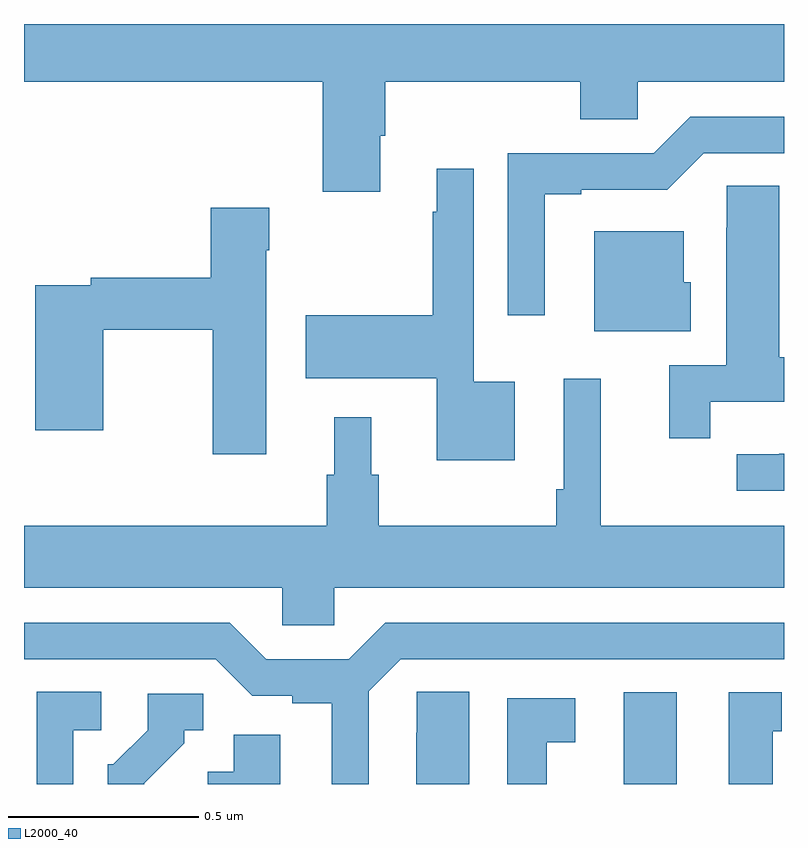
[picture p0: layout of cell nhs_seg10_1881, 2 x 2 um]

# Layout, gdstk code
import gdstk
lib = gdstk.Library(unit=1e-6, precision=1e-09)
def R(c, l, rs):  # rectangles x0, y0, x1, y1
    for r in rs: c.add(gdstk.rectangle(r[:2], r[2:], *l))
def P(c, l, *ps):  # polygons
    for p in ps: c.add(gdstk.Polygon(p, *l))
L2000_40 = (2000, 40)

nhs_seg10_1881 = lib.new_cell('nhs_seg10_1881')
R(nhs_seg10_1881, L2000_40, [(135.578,1266.5,135.718,1266.742)])
P(nhs_seg10_1881, L2000_40, [(134.938,1268.206),(134.951,1268.206),(134.951,1268.348),(135.464,1268.348),(135.464,1268.25),(135.615,1268.25),(135.615,1268.348),(136,1268.348),(136,1268.5),(134,1268.5),(134,1268.348),(134.786,1268.348),(134.786,1268.058),(134.938,1268.058)],
  [(135.37,1268.052),(135.466,1268.052),(135.466,1268.064),(135.693,1268.064),(135.789,1268.16),(136,1268.16),(136,1268.256),(135.753,1268.256),(135.657,1268.16),(135.273,1268.16),(135.273,1267.734),(135.37,1267.734)],
  [(135.292,1267.558),(135.183,1267.558),(135.183,1268.119),(135.086,1268.119),(135.086,1268.006),(135.075,1268.006),(135.075,1267.734),(134.742,1267.734),(134.742,1267.568),(135.086,1267.568),(135.086,1267.352),(135.292,1267.352)],
  [(135.806,1267.506),(136,1267.506),(136,1267.623),(135.988,1267.623),(135.988,1268.075),(135.849,1268.075),(135.849,1267.964),(135.848,1267.964),(135.848,1267.602),(135.698,1267.602),(135.698,1267.41),(135.806,1267.41)],
  [(134.638,1267.904),(134.646,1267.904),(134.646,1268.017),(134.492,1268.017),(134.492,1267.832),(134.176,1267.832),(134.176,1267.812),(134.03,1267.812),(134.03,1267.431),(134.208,1267.431),(134.208,1267.696),(134.497,1267.696),(134.497,1267.368),(134.638,1267.368)],
  [(135.754,1267.821),(135.736,1267.821),(135.736,1267.954),(135.5,1267.954),(135.5,1267.691),(135.754,1267.691)],
  [(134.817,1267.016),(136,1267.016),(136,1267.18),(135.518,1267.18),(135.518,1267.567),(135.42,1267.567),(135.42,1267.276),(135.4,1267.276),(135.4,1267.18),(134.933,1267.18),(134.933,1267.314),(134.914,1267.314),(134.914,1267.465),(134.816,1267.465),(134.816,1267.314),(134.797,1267.314),(134.797,1267.18),(134,1267.18),(134,1267.016),(134.679,1267.016),(134.679,1266.918),(134.817,1266.918)],
  [(136,1267.369),(135.988,1267.369),(135.988,1267.368),(135.876,1267.368),(135.876,1267.272),(136,1267.272)],
  [(134.907,1266.744),(134.991,1266.828),(136,1266.828),(136,1266.924),(134.951,1266.924),(134.855,1266.828),(134.637,1266.828),(134.541,1266.924),(134,1266.924),(134,1266.828),(134.505,1266.828),(134.601,1266.732),(134.706,1266.732),(134.706,1266.712),(134.81,1266.712),(134.81,1266.5),(134.907,1266.5)],
  [(134.13,1266.642),(134.203,1266.642),(134.203,1266.743),(134.033,1266.743),(134.033,1266.5),(134.13,1266.5)],
  [(135.172,1266.743),(135.033,1266.743),(135.033,1266.635),(135.032,1266.635),(135.032,1266.5),(135.172,1266.5)],
  [(135.97,1266.639),(135.994,1266.639),(135.994,1266.742),(135.854,1266.742),(135.854,1266.5),(135.97,1266.5)],
  [(134.317,1266.502),(134.422,1266.607),(134.422,1266.642),(134.472,1266.642),(134.472,1266.738),(134.325,1266.738),(134.325,1266.642),(134.235,1266.552),(134.22,1266.552),(134.22,1266.5),(134.317,1266.5)],
  [(135.376,1266.61),(135.451,1266.61),(135.451,1266.726),(135.272,1266.726),(135.272,1266.5),(135.376,1266.5)],
  [(134.674,1266.63),(134.552,1266.63),(134.552,1266.532),(134.483,1266.532),(134.483,1266.5),(134.674,1266.5)])

lib.write_gds('nhs_seg10_1881.gds')
